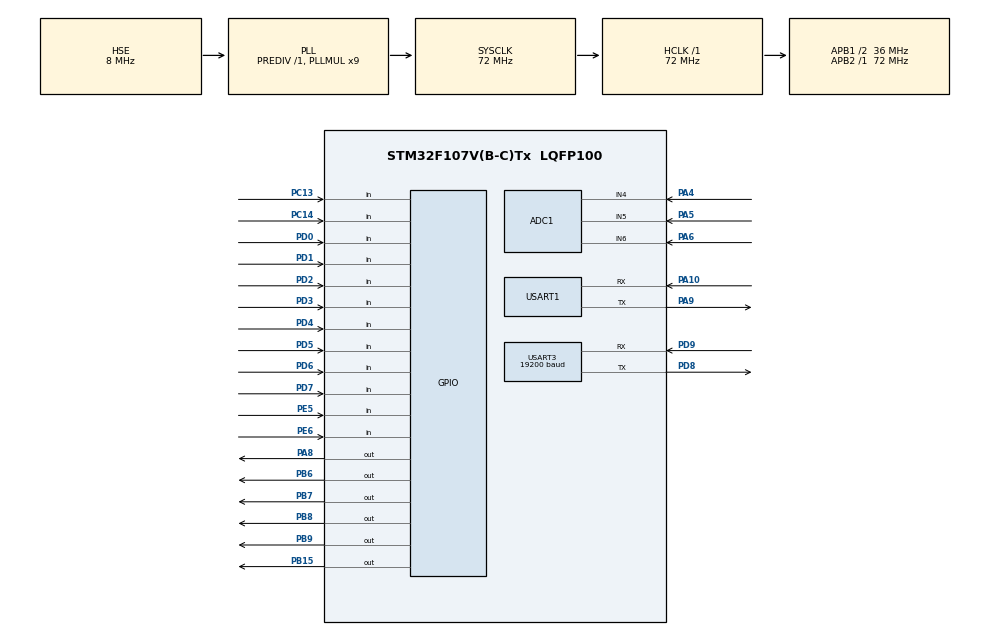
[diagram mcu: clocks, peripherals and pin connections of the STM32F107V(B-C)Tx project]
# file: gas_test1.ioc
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ADC1.Channel-0\#ChannelRegularConversion=ADC_CHANNEL_4
ADC1.Channel-1\#ChannelRegularConversion=ADC_CHANNEL_5
ADC1.Channel-2\#ChannelRegularConversion=ADC_CHANNEL_6
ADC1.ContinuousConvMode=DISABLE
ADC1.DiscontinuousConvMode=ENABLE
ADC1.NbrOfConversion=3
ADC1.NbrOfConversionFlag=1
ADC1.Rank-0\#ChannelRegularConversion=1
ADC1.Rank-1\#ChannelRegularConversion=2
ADC1.Rank-2\#ChannelRegularConversion=3
ADC1.SamplingTime-0\#ChannelRegularConversion=ADC_SAMPLETIME_239CYCLES_5
ADC1.SamplingTime-1\#ChannelRegularConversion=ADC_SAMPLETIME_239CYCLES_5
ADC1.SamplingTime-2\#ChannelRegularConversion=ADC_SAMPLETIME_239CYCLES_5
ADC1.master=1
Mcu.Family=STM32F1
Mcu.Name=STM32F107V(B-C)Tx
Mcu.Package=LQFP100
NVIC.ADC1_2_IRQn=true\:0\:0\:false\:false\:true\:true\:true\:true
NVIC.PriorityGroup=NVIC_PRIORITYGROUP_4
NVIC.TIM2_IRQn=true\:0\:0\:false\:false\:true\:true\:true\:true
NVIC.USART3_IRQn=true\:0\:0\:false\:false\:true\:true\:true\:true
OSC_IN.Mode=HSE-External-Oscillator
OSC_IN.Signal=RCC_OSC_IN
OSC_OUT.Mode=HSE-External-Oscillator
OSC_OUT.Signal=RCC_OSC_OUT
PA10.GPIO_PuPd=GPIO_PULLUP
PA10.Mode=Asynchronous
PA10.Signal=USART1_RX
PA13.Mode=Serial_Wire
PA13.Signal=SYS_JTMS-SWDIO
PA14.Mode=Serial_Wire
PA14.Signal=SYS_JTCK-SWCLK
PA4.Signal=ADCx_IN4
PA5.Signal=ADCx_IN5
PA6.Signal=ADCx_IN6
PA8.Signal=GPIO_Output
PA9.Mode=Asynchronous
PA9.Signal=USART1_TX
PB15.Signal=GPIO_Output
PB6.Signal=GPIO_Output
PB7.Signal=GPIO_Output
PB8.Signal=GPIO_Output
PB9.Signal=GPIO_Output
PC13-TAMPER-RTC.Signal=GPIO_Input
PC14-OSC32_IN.Signal=GPIO_Input
PD0.Signal=GPIO_Input
PD1.Signal=GPIO_Input
PD2.Signal=GPIO_Input
PD3.Signal=GPIO_Input
PD4.Signal=GPIO_Input
PD5.Signal=GPIO_Input
PD6.Signal=GPIO_Input
PD7.Signal=GPIO_Input
PD8.Mode=Asynchronous
PD8.Signal=USART3_TX
PD9.GPIO_PuPd=GPIO_PULLUP
PD9.Mode=Asynchronous
PD9.Signal=USART3_RX
PE5.Signal=GPIO_Input
PE6.Signal=GPIO_Input
ProjectManager.HeapSize=0x200
ProjectManager.StackSize=0x400
ProjectManager.TargetToolchain=STM32CubeIDE
RCC.ADCPresc=RCC_ADCPCLK2_DIV6
RCC.AHBFreq_Value=72000000
RCC.APB1CLKDivider=RCC_HCLK_DIV2
RCC.APB1Freq_Value=36000000
RCC.APB1TimFreq_Value=72000000
RCC.APB2Freq_Value=72000000
RCC.APB2TimFreq_Value=72000000
RCC.HCLKFreq_Value=72000000
RCC.PLLMUL=RCC_PLL_MUL9
RCC.PLLSourceVirtual=RCC_PLLSOURCE_HSE
RCC.SYSCLKFreq_VALUE=72000000
RCC.SYSCLKSource=RCC_SYSCLKSOURCE_PLLCLK
RCC.USBFreq_Value=48000000
SH.ADCx_IN4.0=ADC1_IN4,IN4
SH.ADCx_IN5.0=ADC1_IN5,IN5
SH.ADCx_IN6.0=ADC1_IN6,IN6
TIM2.AutoReloadPreload=TIM_AUTORELOAD_PRELOAD_ENABLE
TIM2.ClockDivision=TIM_CLOCKDIVISION_DIV4
TIM2.CounterMode=TIM_COUNTERMODE_DOWN
TIM2.Period=100
TIM2.Prescaler=7199
USART1.VirtualMode=VM_ASYNC
USART3.BaudRate=19200
USART3.Parity=PARITY_EVEN
USART3.VirtualMode=VM_ASYNC
USART3.WordLength=WORDLENGTH_9B
VP_TIM2_VS_ClockSourceINT.Mode=Internal
board=custom

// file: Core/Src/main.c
/* USER CODE BEGIN Header */
/**
  ******************************************************************************
  * @file           : main.c
  * @brief          : Main program body
  ******************************************************************************
  * @attention
  *
  * Copyright (c) 2025 STMicroelectronics.
  * All rights reserved.
  *
  * This software is licensed under terms that can be found in the LICENSE file
  * in the root directory of this software component.
  * If no LICENSE file comes with this software, it is provided AS-IS.
  *
  ******************************************************************************
  */
/* USER CODE END Header */
#include "main.h"
#include "adc.h"
#include "tim.h"
#include "usart.h"
#include "gpio.h"

/* USER CODE BEGIN Includes */
#include "TS_commu.h"
/* USER CODE END Includes */

void SystemClock_Config(void);
/* USER CODE BEGIN PFP */
// ⭐ 백그라운드 작업 처리 함수 선언 추가
void ProcessBackgroundTasks(void);
/* USER CODE END PFP */

/* USER CODE BEGIN 0 */
uint16_t adcdata1, adcdata2, adcdata3, adcCnt=0;
uint8_t sw2, sw1, sw0;
#include "stm32f1xx_hal_adc.h"
/* USER CODE END 0 */

int main(void)
{

  /* USER CODE BEGIN 1 */
  init_TS_commu();
  /* USER CODE END 1 */

  /* MCU Configuration--------------------------------------------------------*/

  /* Reset of all peripherals, Initializes the Flash interface and the Systick. */
  HAL_Init();

  /* Configure the system clock */
  SystemClock_Config();

  /* Initialize all configured peripherals */
  MX_GPIO_Init();
  MX_ADC1_Init();
  MX_USART1_UART_Init();
  MX_USART3_UART_Init();
  MX_TIM2_Init();
  /* USER CODE BEGIN 2 */
  start_TS_commu();
  HAL_TIM_Base_Start_IT(&htim2);
  /* USER CODE END 2 */

  /* Infinite loop */
  while (1)
  {

    /* USER CODE BEGIN 3 */
	  // ⭐⭐⭐ 백그라운드 작업 처리 - Timer 인터럽트에서 이동한 무거운 작업들 ⭐⭐⭐
	  ProcessBackgroundTasks();

	  if(TestFlash) {
		  if(TestFlash == 1) {
			  ReadFlash((uint32_t*)&fParam);
			  ReadFlashParam();  // 읽은 후 변수 업데이트 (이 줄 추가)
		  }
		  else if(TestFlash == 3) EraseFlash();
		  else {
			  SaveFlashParam();  // 현재 설정값을 저장 (기존 WriteFlash 대신)
//			  WriteFlash((uint32_t*)&fParam);
		  }
		  TestFlash = 0;
	  }
//	  HAL_ADC_Start_IT(hadc1);
	  ADC_ChannelConfTypeDef sConfig = {0};
	  sConfig.Channel = ADC_CHANNEL_4;
	  sConfig.Rank = ADC_REGULAR_RANK_1;
	  sConfig.SamplingTime = ADC_SAMPLETIME_239CYCLES_5;
	  if (HAL_ADC_ConfigChannel(&hadc1, &sConfig) != HAL_OK)
	  {
	    Error_Handler();
	  }
	  adcCnt++;
	  HAL_ADC_Start(&hadc1);
	  while(HAL_ADC_PollForConversion(&hadc1, 100)!=HAL_OK);
	  adcdata1 = HAL_ADC_GetValue(&hadc1);

	  sConfig.Channel = ADC_CHANNEL_5;
	  if (HAL_ADC_ConfigChannel(&hadc1, &sConfig) != HAL_OK)
	  {
	    Error_Handler();
	  }
	  adcCnt++;
	  HAL_ADC_Start(&hadc1);
	  while(HAL_ADC_PollForConversion(&hadc1, 100)!=HAL_OK);
	  adcdata2 = HAL_ADC_GetValue(&hadc1);

	  sConfig.Channel = ADC_CHANNEL_6;
	  if (HAL_ADC_ConfigChannel(&hadc1, &sConfig) != HAL_OK)
	  {
	    Error_Handler();
	  }
	  adcCnt++;
	  HAL_ADC_Start(&hadc1);
	  while(HAL_ADC_PollForConversion(&hadc1, 100)!=HAL_OK);
	  adcdata3 = HAL_ADC_GetValue(&hadc1);
	  adcCnt+=7;

      // ===== 🎛️ ADC 값을 실제 센서값으로 변환 =====
      // 4~20mA: 818 ~ 4096 범위
      // ⭐ ADC 값 처리는 TS_commu.c의 함수로 위임
      ProcessADCValues(adcdata3, adcdata2, adcdata1);

/*
      // 🔥 시뮬레이션 모드가 아닐 때만 실제 ADC 값 사용
      if(!simulation_mode) {
          float PT1scale = (float)(PT1.MaxSValue - PT1.MinSValue) / (4096 - 819);
          if(adcdata3 > 819) {
              PT1.Value = (uint16_t)(10 * ((adcdata3 - 819) * PT1scale + PT1.MinSValue));
              PT1.Value = PT1.Value + PT1.Offset;
              // 그래프 값도 동기화
              GraphPT1.Value = PT1.Value;
          }

          // PT2도 필요하면 활성화
          float PT2scale = (float)(PT2.MaxSValue - PT2.MinSValue) / (4096 - 819);
          if(adcdata2 > 819) {
              PT2.Value = (uint16_t)(10 * ((adcdata2 - 819) * PT2scale + PT2.MinSValue));
              PT2.Value = PT2.Value + PT2.Offset;
              GraphPT2.Value = PT2.Value;
          }
          // PT3 공급 압력 (예: adcdata1 사용)
          float PT3scale = (float)(PT3.MaxSValue - PT3.MinSValue) / (4096 - 819);
          if(adcdata1 > 819) {
              PT3.Value = (uint16_t)(10 * ((adcdata1 - 819) * PT3scale + PT3.MinSValue));
              PT3.Value = PT3.Value + PT3.Offset;
          }
      }
      // 🎮 시뮬레이션 모드일 때는 ADC 값 무시하고 가상 값 사용
      // (ProcessBackgroundTasks()에서 자동으로 처리됨)
*/
	  sw0 = HAL_GPIO_ReadPin(GPIOD, GPIO_PIN_4);
	  sw0 |= HAL_GPIO_ReadPin(GPIOD, GPIO_PIN_5) ? 2 : 0;
	  sw0 |= HAL_GPIO_ReadPin(GPIOD, GPIO_PIN_6) ? 4 : 0;
	  sw0 |= HAL_GPIO_ReadPin(GPIOD, GPIO_PIN_7) ? 8 : 0;

	  sw0 |= HAL_GPIO_ReadPin(GPIOD, GPIO_PIN_3) ? 0x10 : 0;
	  sw0 |= HAL_GPIO_ReadPin(GPIOD, GPIO_PIN_1) ? 0x20 : 0;
	  sw0 |= HAL_GPIO_ReadPin(GPIOD, GPIO_PIN_2) ? 0x40 : 0;
	  sw0 |= HAL_GPIO_ReadPin(GPIOD, GPIO_PIN_0) ? 0x80 : 0;

	  sw2 = sw0 & 0x0F;
	  sw1 = (sw0 >> 4) & 0x0F;
  }
  // 기존 sw0, sw1, sw2 처리 아래에 추가
  // --------------[ 여기에 아래 코드 삽입 ]--------------

  GPIO_PinState emergStop = HAL_GPIO_ReadPin(GPIOE, GPIO_PIN_5);     // 비상정지 IN
  GPIO_PinState pressureSensor = HAL_GPIO_ReadPin(GPIOE, GPIO_PIN_6); // 압력센서 IN

  // 논리 상태 갱신
  IOdata.EmerSWOnLamp = (emergStop == GPIO_PIN_RESET) ? 1 : 0;
  IOdata.PressureLowLimit = (pressureSensor == GPIO_PIN_RESET) ? 1 : 0;

  // 실제 출력 제어
  if(IOdata.EmerSWOnLamp) { // 비상정지: 전체 off, 램프/부저 on
      HAL_GPIO_WritePin(GPIOB, GPIO_PIN_9, GPIO_PIN_RESET); // SOL 좌
      HAL_GPIO_WritePin(GPIOB, GPIO_PIN_8, GPIO_PIN_RESET); // SOL 우
      HAL_GPIO_WritePin(GPIOB, GPIO_PIN_7, GPIO_PIN_SET);   // 적색 램프
      HAL_GPIO_WritePin(GPIOB, GPIO_PIN_6, GPIO_PIN_SET);   // 부저
  } else {
      // 경고(압력)/알람 처리
      if(IOdata.PressureLowLimit) {
          HAL_GPIO_WritePin(GPIOB, GPIO_PIN_7, GPIO_PIN_SET); // 적색 램프
          HAL_GPIO_WritePin(GPIOB, GPIO_PIN_6, GPIO_PIN_SET); // 부저
      } else {
          HAL_GPIO_WritePin(GPIOB, GPIO_PIN_7, GPIO_PIN_RESET);
          if(IOdata.UseBuzzerLamp == 0 &&
             (IOdata.PrepChgPT1Alarm || IOdata.PrepChgPT2Alarm || IOdata.MinSuuplPressPT3)) {
              HAL_GPIO_WritePin(GPIOB, GPIO_PIN_6, GPIO_PIN_SET); // 부저
          } else {
              HAL_GPIO_WritePin(GPIOB, GPIO_PIN_6, GPIO_PIN_RESET); // 부저
          }
      }
      // SOL 제어
      GPIO_PinState solL = (IOdata.SupplyGasLSW == 1) ?
          (IOdata.SolNoNCLamp == 0 ? GPIO_PIN_RESET : GPIO_PIN_SET) :
          (IOdata.SolNoNCLamp == 0 ? GPIO_PIN_SET : GPIO_PIN_RESET);
      GPIO_PinState solR = (IOdata.SupplyGasRSW == 1) ?
          (IOdata.SolNoNCLamp == 0 ? GPIO_PIN_RESET : GPIO_PIN_SET) :
          (IOdata.SolNoNCLamp == 0 ? GPIO_PIN_SET : GPIO_PIN_RESET);
      HAL_GPIO_WritePin(GPIOB, GPIO_PIN_9, solL);
      HAL_GPIO_WritePin(GPIOB, GPIO_PIN_8, solR);
  }
  /* USER CODE END 3 */
}

void SystemClock_Config(void)
{
  RCC_OscInitTypeDef RCC_OscInitStruct = {0};
  RCC_ClkInitTypeDef RCC_ClkInitStruct = {0};
  RCC_PeriphCLKInitTypeDef PeriphClkInit = {0};

  /** Initializes the RCC Oscillators according to the specified parameters
  * in the RCC_OscInitTypeDef structure.
  */
  RCC_OscInitStruct.OscillatorType = RCC_OSCILLATORTYPE_HSE;
  RCC_OscInitStruct.HSEState = RCC_HSE_ON;
  RCC_OscInitStruct.HSEPredivValue = RCC_HSE_PREDIV_DIV1;
  RCC_OscInitStruct.HSIState = RCC_HSI_ON;
  RCC_OscInitStruct.Prediv1Source = RCC_PREDIV1_SOURCE_HSE;
  RCC_OscInitStruct.PLL.PLLState = RCC_PLL_ON;
  RCC_OscInitStruct.PLL.PLLSource = RCC_PLLSOURCE_HSE;
  RCC_OscInitStruct.PLL.PLLMUL = RCC_PLL_MUL9;
  RCC_OscInitStruct.PLL2.PLL2State = RCC_PLL_NONE;
  if (HAL_RCC_OscConfig(&RCC_OscInitStruct) != HAL_OK)
  {
    Error_Handler();
  }

  /** Initializes the CPU, AHB and APB buses clocks
  */
  RCC_ClkInitStruct.ClockType = RCC_CLOCKTYPE_HCLK|RCC_CLOCKTYPE_SYSCLK
                              |RCC_CLOCKTYPE_PCLK1|RCC_CLOCKTYPE_PCLK2;
  RCC_ClkInitStruct.SYSCLKSource = RCC_SYSCLKSOURCE_PLLCLK;
  RCC_ClkInitStruct.AHBCLKDivider = RCC_SYSCLK_DIV1;
  RCC_ClkInitStruct.APB1CLKDivider = RCC_HCLK_DIV2;
  RCC_ClkInitStruct.APB2CLKDivider = RCC_HCLK_DIV1;

  if (HAL_RCC_ClockConfig(&RCC_ClkInitStruct, FLASH_LATENCY_2) != HAL_OK)
  {
    Error_Handler();
  }
  PeriphClkInit.PeriphClockSelection = RCC_PERIPHCLK_ADC;
  PeriphClkInit.AdcClockSelection = RCC_ADCPCLK2_DIV6;
  if (HAL_RCCEx_PeriphCLKConfig(&PeriphClkInit) != HAL_OK)
  {
    Error_Handler();
  }

  /** Configure the Systick interrupt time
  */
  __HAL_RCC_PLLI2S_ENABLE();
}

void Error_Handler(void)
{
  __disable_irq();
  while (1)
  {
  }
}
